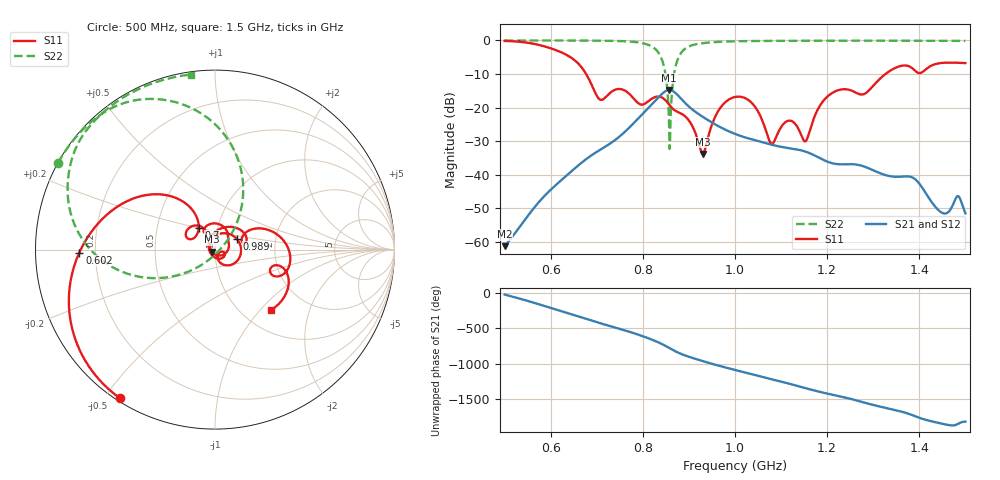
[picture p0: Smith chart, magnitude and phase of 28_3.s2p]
! TOUCHSTONE file generated by CST MICROWAVE STUDIO
! Date and time: Fri Oct  2 16:36:35 2020
! Project name: Scenario_1_Free_Space_out_of_line.cst
! Parameters = {Lambda=346.42; Step_1=17.321; dy1=-120.567; dx1=520; L_HA=400; MT=2.54; Rad_Dielectric=30; Rad_Lower=7.3; Rad_Upper=30; a_HA=580; a_WG=246; b_HA=500; b_WG=121; c_HA=0; c_WG=187; d_feed=85; h_feed=15; h_lower=18; h_upper=40}
! Header version: 2018
! Port assignment regex: !\s*Touchstone port\s*([0-9]+)\s*=\s*(CST MWS port|CST DS port)\s*([0-9]+|Zmin|Zmax)\s*\(\"(.*)\"\)(\s*mode\s*([0-9]+))?.*
! Touchstone port assignment:
! Touchstone port 1 = CST MWS port 1 ("")
! Touchstone port 2 = CST MWS port 2 ("")
# GHz S DB R 50
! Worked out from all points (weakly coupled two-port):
!   1003 points, 500 MHz to 1.5 GHz, reference 50 ohm
!   highest |S21| = -14.75 dB at 857 MHz (marker M1); lowest = -61.2 dB at 500 MHz (marker M2)
!   lowest |S11| = -33.8 dB at 930 MHz (marker M3), VSWR 1.04, Z = 48.4 - j1.18 ohm
!   |S11| at or under -10 dB: 676.9 MHz to 1.326 GHz (649.6 MHz wide, 64.8 % of centre)
!   |S22| runs from -32.3 to 0.0 dB; largest |S21 - S12| = 0.00019
!   S11 on the Smith chart (normalised r, x): 500 MHz: 0.01, -0.55; 602 MHz: 0.14, -0.01; 700 MHz: 0.81, +0.20; 989 MHz: 1.26, +0.16; 1.5 GHz: 1.35, -1.15
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0.5  -0.15 -122.6  -61.22 -19.8  -61.22 -19.8  -0.01 151.1
0.602  -2.43 -178.8  -44.19 146.2  -44.19 146.2  -0.02 143.9
0.667  -8.01 130.8  -36.39 16.2  -36.39 16.2  -0.04 138.2
0.7  -16.44 127.1  -33.16 -52.0  -33.16 -52.0  -0.07 134.7
0.783  -17.73 117.9  -24.21 146.0  -24.21 146.0  -0.47 118.9
0.834  -16.70 91.2  -16.93 20.1  -16.93 20.1  -3.66 86.4
0.847  -17.53 66.4  -15.29 -21.6  -15.29 -21.6  -8.48 65.3
0.857  -19.09 49.9  -14.75 -57.7  -14.75 -57.7  -25.49 26.0
0.879  -21.46 24.3  -16.75 -131.9  -16.75 -131.9  -4.63 -170.9
0.93  -33.76 -143.4  -22.73 114.5  -22.73 114.5  -0.81 154.0
0.989  -17.40 26.7  -27.19 7.5  -27.19 7.5  -0.29 141.6
1  -16.83 7.9  -27.81 -11.1  -27.81 -11.0  -0.25 140.0
1.041  -19.31 -54.2  -29.59 -79.2  -29.59 -79.2  -0.17 135.1
1.079  -30.76 -44.5  -31.02 -142.7  -31.02 -142.7  -0.14 131.4
1.113  -24.02 -29.6  -31.96 161.4  -31.96 161.4  -0.12 128.4
1.152  -30.03 -154.9  -33.04 92.5  -33.04 92.5  -0.10 125.2
1.167  -24.80 123.6  -33.85 65.6  -33.85 65.6  -0.10 124.0
1.208  -15.90 51.5  -36.43 2.6  -36.43 2.6  -0.09 120.8
1.28  -15.96 21.2  -37.51 -114.0  -37.51 -114.0  -0.09 115.4
1.334  -9.26 15.9  -40.33 160.1  -40.33 160.1  -0.09 111.3
1.449  -6.70 -29.3  -51.27 -54.1  -51.27 -54.5  -0.11 102.1
1.5  -6.75 -47.0  -51.45 -25.7  -51.35 -27.6  -0.14 97.7
